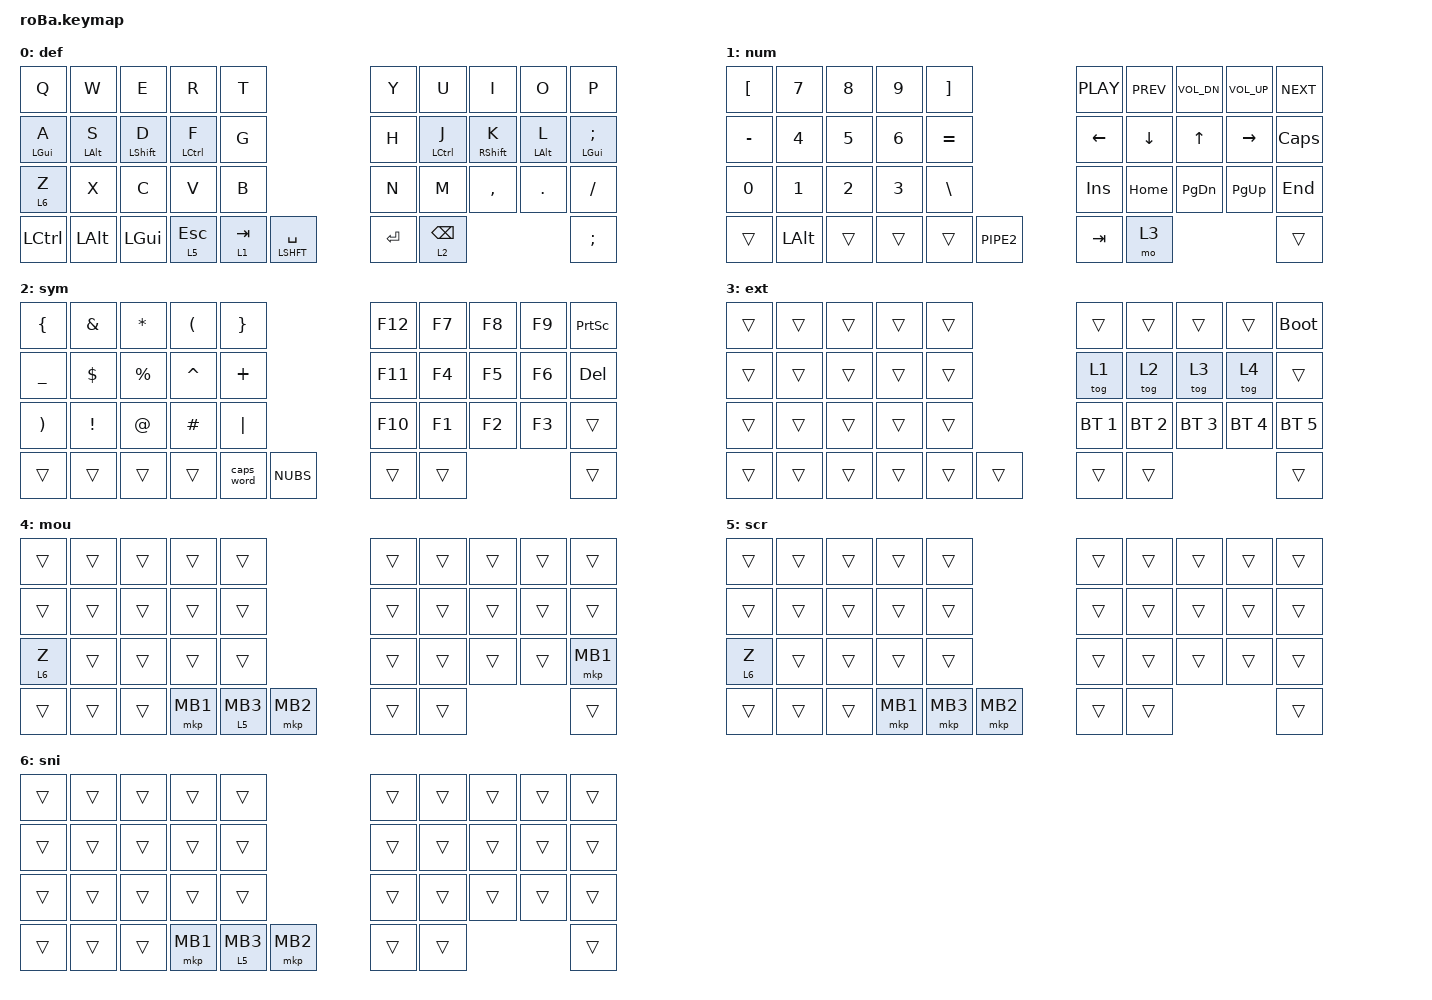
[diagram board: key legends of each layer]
#include <behaviors.dtsi>
#include <dt-bindings/zmk/keys.h>
#include <dt-bindings/zmk/bt.h>
#include <dt-bindings/zmk/outputs.h>
#include "zmk-helpers/helper.h"
#include <dt-bindings/zmk/pointing.h>

#define DEF 0
#define NUM 1
#define SYM 2
#define EXT 3
#define MOU 4
#define SCR 5
#define SNI 6

/* left-hand HRMs */
ZMK_HOLD_TAP(hml,
    flavor = "balanced";
    tapping-term-ms = <250>;
    quick-tap-ms = <175>;
    require-prior-idle-ms = <80>;
    bindings = <&kp>, <&kp>;
    hold-trigger-on-release;
)

ZMK_HOLD_TAP(hmr,
    flavor = "balanced";
    tapping-term-ms = <250>;
    quick-tap-ms = <175>;
    require-prior-idle-ms = <80>;
    bindings = <&kp>, <&kp>;
    hold-trigger-on-release;
)

ZMK_BEHAVIOR(lt_tab, hold_tap,
    flavor = "balanced";
    tapping-term-ms = <120>;
    quick-tap-ms = <150>;
    require-prior-idle-ms = <80>;
    bindings = <&mo>, <&kp>;
    hold-trigger-on-release;
)

ZMK_BEHAVIOR(lt_back, hold_tap,
    flavor = "balanced";
    tapping-term-ms = <120>;
    quick-tap-ms = <150>;
    require-prior-idle-ms = <80>;
    bindings = <&mo>, <&kp>;
    hold-trigger-on-release;
)

ZMK_BEHAVIOR(lt_shift, hold_tap,
    flavor = "balanced";
    tapping-term-ms = <120>;
    quick-tap-ms = <150>;
    require-prior-idle-ms = <80>;
    bindings = <&kp>, <&kp>;
    hold-trigger-on-release;
)

ZMK_BEHAVIOR(lt_scr, hold_tap,
    flavor = "balanced";
    tapping-term-ms = <120>;
    quick-tap-ms = <150>;
    require-prior-idle-ms = <80>;
    bindings = <&mo>, <&kp>;
    hold-trigger-on-release;
)

ZMK_BEHAVIOR(lt_sni, hold_tap,
    flavor = "balanced";
    tapping-term-ms = <120>;
    quick-tap-ms = <150>;
    require-prior-idle-ms = <80>;
    bindings = <&mo>, <&kp>;
    hold-trigger-on-release;
)

ZMK_BEHAVIOR(lt_mb3, hold_tap,
    flavor = "balanced";
    tapping-term-ms = <120>;
    quick-tap-ms = <150>;
    require-prior-idle-ms = <80>;
    bindings = <&mo>, <&kp>;
    hold-trigger-on-release;
)

ZMK_COMBO(caps, &kp CAPSLOCK, LM2 RM2)
ZMK_COMBO(sni, &mo 7, RB2 RB3)

ZMK_CONDITIONAL_LAYER(ext, NUM SYM, EXT) // FN + NUM --> SYS.

ZMK_LAYER(def,
		&kp Q           &kp W       &kp E         &kp R          &kp T                                  &kp Y       &kp U            &kp I         &kp O       &kp P         
		&hml LGUI A     &hml LALT S &hml LSHFT D  &hml LCTRL F   &kp G                                  &kp H       &hmr LCTRL J     &hmr RSHFT K  &hmr LALT L &hmr LGUI SEMI
    &lt_sni 6 Z     &kp X       &kp C         &kp V          &kp B                                  &kp N       &kp M            &kp COMMA     &kp DOT     &kp FSLH
    &kp LCTRL  			&kp LALT    &kp LGUI      &lt_scr 5 ESC &lt_tab 1 TAB   &lt_shift LSHFT SPACE   &kp RET     &lt_back 2 BSPC                            &kp SEMI
)

ZMK_LAYER(num,  
    &kp LBKT        &kp N7      &kp N8     &kp N9            &kp RBKT                               &kp C_PLAY  &kp C_PREV       &kp C_VOL_DN  &kp C_VOL_UP &kp C_NEXT
    &kp MINUS       &kp N4      &kp N5     &kp N6            &kp EQUAL                              &kp LEFT    &kp DOWN         &kp UP        &kp RIGHT   &kp CAPSLOCK
    &kp N0          &kp N1      &kp N2     &kp N3            &kp BSLH                               &kp INS     &kp HOME         &kp PG_DN     &kp PG_UP   &kp END
    &trans          &kp LALT    &trans     &trans            &trans          &kp PIPE2              &kp TAB     &mo 3                                      &trans
)

ZMK_LAYER(sym,  
    &kp LBRC        &kp AMPS    &kp ASTRK  &kp LPAR          &kp RBRC                               &kp F12     &kp F7           &kp F8        &kp F9      &kp PSCRN
    &kp UNDERSCORE  &kp DLLR    &kp PRCNT  &kp CARET         &kp PLUS                               &kp F11     &kp F4           &kp F5        &kp F6      &kp DEL  
    &kp RPAR        &kp EXCL    &kp AT     &kp HASH          &kp PIPE                               &kp F10     &kp F1           &kp F2        &kp F3      &trans
    &trans          &trans      &trans     &trans            &caps_word      &kp NUBS               &trans      &trans                                     &trans
)

ZMK_LAYER(ext,
    &trans          &trans      &trans     &trans            &trans                                 &trans      &trans           &trans        &trans        &bootloader
    &trans          &trans      &trans     &trans            &trans                                 &tog 1      &tog 2           &tog 3        &tog 4        &trans
    &trans          &trans      &trans     &trans            &trans                                 &bt BT_SEL 1 &bt BT_SEL 2    &bt BT_SEL 3  &bt BT_SEL 4  &bt BT_SEL 5
    &trans          &trans      &trans     &trans            &trans          &trans                 &trans      &trans                                       &trans
)

ZMK_LAYER(mou,
    &trans          &trans      &trans     &trans            &trans                                 &trans      &trans           &trans        &trans        &trans
    &trans          &trans      &trans     &trans            &trans                                 &trans      &trans           &trans        &trans        &trans
    &lt_sni 6 Z     &trans      &trans     &trans            &trans                                 &trans      &trans           &trans        &trans        &mkp MB1
    &trans          &trans      &trans     &mkp MB1          &lt_mb3 5 MB3   &mkp MB2               &trans      &trans                                       &trans
)

ZMK_LAYER(scr,
    &trans          &trans      &trans     &trans            &trans                                 &trans      &trans           &trans        &trans        &trans
    &trans          &trans      &trans     &trans            &trans                                 &trans      &trans           &trans        &trans        &trans
    &lt_sni 6 Z     &trans      &trans     &trans            &trans                                 &trans      &trans           &trans        &trans        &trans
    &trans          &trans      &trans     &mkp MB1          &mkp MB3        &mkp MB2               &trans      &trans                                       &trans
)

ZMK_LAYER(sni,
    &trans          &trans      &trans     &trans            &trans                                 &trans      &trans           &trans        &trans        &trans
    &trans          &trans      &trans     &trans            &trans                                 &trans      &trans           &trans        &trans        &trans
    &trans          &trans      &trans     &trans            &trans                                 &trans      &trans           &trans        &trans        &trans
    &trans          &trans      &trans     &mkp MB1          &lt_mb3 5 MB3   &mkp MB2               &trans      &trans                                       &trans
)
